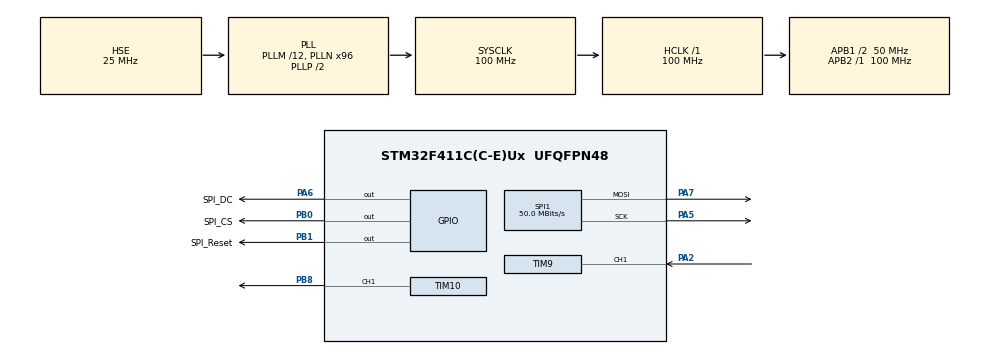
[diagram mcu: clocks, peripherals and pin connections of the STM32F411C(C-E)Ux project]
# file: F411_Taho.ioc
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Dma.Request0=SPI1_TX
Dma.SPI1_TX.0.Direction=DMA_MEMORY_TO_PERIPH
Dma.SPI1_TX.0.FIFOMode=DMA_FIFOMODE_DISABLE
Dma.SPI1_TX.0.Instance=DMA2_Stream2
Dma.SPI1_TX.0.MemDataAlignment=DMA_MDATAALIGN_BYTE
Dma.SPI1_TX.0.MemInc=DMA_MINC_ENABLE
Dma.SPI1_TX.0.Mode=DMA_NORMAL
Dma.SPI1_TX.0.PeriphDataAlignment=DMA_PDATAALIGN_BYTE
Dma.SPI1_TX.0.PeriphInc=DMA_PINC_DISABLE
Dma.SPI1_TX.0.Priority=DMA_PRIORITY_LOW
Mcu.Family=STM32F4
Mcu.Name=STM32F411C(C-E)Ux
Mcu.Package=UFQFPN48
NVIC.DMA2_Stream2_IRQn=true\:0\:0\:false\:false\:true\:false\:true
NVIC.PriorityGroup=NVIC_PRIORITYGROUP_4
NVIC.SPI1_IRQn=true\:0\:0\:false\:false\:true\:true\:true
NVIC.TIM1_BRK_TIM9_IRQn=true\:0\:0\:false\:false\:true\:true\:true
PA13.Mode=Serial_Wire
PA13.Signal=SYS_JTMS-SWDIO
PA14.Mode=Serial_Wire
PA14.Signal=SYS_JTCK-SWCLK
PA2.GPIO_PuPd=GPIO_PULLUP
PA2.GPIO_Speed=GPIO_SPEED_FREQ_VERY_HIGH
PA2.Signal=S_TIM9_CH1
PA5.Mode=TX_Only_Simplex_Unidirect_Master
PA5.Signal=SPI1_SCK
PA6.GPIO_Label=SPI_DC
PA6.Signal=GPIO_Output
PA7.Mode=TX_Only_Simplex_Unidirect_Master
PA7.Signal=SPI1_MOSI
PB0.GPIO_Label=SPI_CS
PB0.Signal=GPIO_Output
PB1.GPIO_Label=SPI_Reset
PB1.Signal=GPIO_Output
PB8.Signal=S_TIM10_CH1
PH0\ -\ OSC_IN.Mode=HSE-External-Oscillator
PH0\ -\ OSC_IN.Signal=RCC_OSC_IN
PH1\ -\ OSC_OUT.Mode=HSE-External-Oscillator
PH1\ -\ OSC_OUT.Signal=RCC_OSC_OUT
ProjectManager.HeapSize=0x200
ProjectManager.StackSize=0x400
ProjectManager.TargetToolchain=EWARM V8
RCC.48MHZClocksFreq_Value=50000000
RCC.AHBFreq_Value=100000000
RCC.APB1CLKDivider=RCC_HCLK_DIV2
RCC.APB1Freq_Value=50000000
RCC.APB1TimFreq_Value=100000000
RCC.APB2Freq_Value=100000000
RCC.APB2TimFreq_Value=100000000
RCC.CortexFreq_Value=100000000
RCC.HCLKFreq_Value=100000000
RCC.HSE_VALUE=25000000
RCC.HSI_VALUE=16000000
RCC.LSE_VALUE=32768
RCC.PLLM=12
RCC.PLLN=96
RCC.PLLSourceVirtual=RCC_PLLSOURCE_HSE
RCC.SYSCLKFreq_VALUE=100000000
RCC.SYSCLKSource=RCC_SYSCLKSOURCE_PLLCLK
RCC.VCOOutputFreq_Value=200000000
SH.S_TIM10_CH1.0=TIM10_CH1,PWM Generation1 CH1
SH.S_TIM9_CH1.0=TIM9_CH1,Input_Capture1_from_TI1
SPI1.CalculateBaudRate=50.0 MBits/s
SPI1.Direction=SPI_DIRECTION_2LINES
SPI1.Mode=SPI_MODE_MASTER
SPI1.VirtualType=VM_MASTER
TIM10.Channel=TIM_CHANNEL_1
TIM10.OCFastMode_PWM=TIM_OCFAST_ENABLE
TIM10.Period=9
TIM10.Prescaler=9
TIM9.Channel-Input_Capture1_from_TI1=TIM_CHANNEL_1
TIM9.ICPolarity_CH1=TIM_INPUTCHANNELPOLARITY_FALLING
TIM9.Period=60000
TIM9.Prescaler=99
VP_TIM10_VS_ClockSourceINT.Mode=Enable_Timer
VP_TIM9_VS_ClockSourceINT.Mode=Internal
board=custom

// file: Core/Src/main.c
/* USER CODE BEGIN Header */
/**
  ******************************************************************************
  * @file           : main.c
  * @brief          : Main program body
  ******************************************************************************
  * @attention
  *
  * <h2><center>&copy; Copyright (c) 2022 STMicroelectronics.
  * All rights reserved.</center></h2>
  *
  * This software component is licensed by ST under BSD 3-Clause license,
  * the "License"; You may not use this file except in compliance with the
  * License. You may obtain a copy of the License at:
  *                        opensource.org/licenses/BSD-3-Clause
  *
  ******************************************************************************
  */
/* USER CODE END Header */
#include "main.h"

/* USER CODE BEGIN Includes */
#include "stdio.h"
#include "ssd1306.h"
#include "fonts.h"
#include "filter_sma.h"
/* USER CODE END Includes */

/* USER CODE BEGIN PD */
#define    DWT_CYCCNT    *(volatile uint32_t*)0xE0001004
#define    DWT_CONTROL   *(volatile uint32_t*)0xE0001000
#define    SCB_DEMCR     *(volatile uint32_t*)0xE000EDFC

/* USER CODE END PD */

SPI_HandleTypeDef hspi1;
DMA_HandleTypeDef hdma_spi1_tx;

TIM_HandleTypeDef htim9;
TIM_HandleTypeDef htim10;

/* USER CODE BEGIN PV */
float rev_time = 0;
unsigned int pulseWidth = 0;
unsigned char transmit_buffer[] = {0};
unsigned int flash = 0;
unsigned int lastflash = 0;
//unsigned long last_filtered = 0;
/* USER CODE END PV */

void SystemClock_Config(void);
static void MX_GPIO_Init(void);
static void MX_DMA_Init(void);
static void MX_SPI1_Init(void);
static void MX_TIM9_Init(void);
static void MX_TIM10_Init(void);

/* USER CODE BEGIN 0 */
void DWT_Init(void)
{
    SCB_DEMCR |= CoreDebug_DEMCR_TRCENA_Msk;
    DWT_CONTROL |= DWT_CTRL_CYCCNTENA_Msk;
}
/* USER CODE END 0 */

int main(void)
{

  /* MCU Configuration--------------------------------------------------------*/

  /* Reset of all peripherals, Initializes the Flash interface and the Systick. */
  HAL_Init();

  /* Configure the system clock */
  SystemClock_Config();

  /* Initialize all configured peripherals */
  MX_GPIO_Init();
  MX_DMA_Init();
  MX_SPI1_Init();
  MX_TIM9_Init();
  MX_TIM10_Init();
  /* USER CODE BEGIN 2 */
  DWT_Init();
  SSD1306_Init();
  SSD1306_Fill(SSD1306_PX_CLR_BLACK);
  SSD1306_DrawRectangle(20, 5, 40, 25, SSD1306_PX_CLR_WHITE);
  SSD1306_GotoXY(21, 12);
  SSD1306_Puts("Msg", &Font_11x18, SSD1306_PX_CLR_WHITE);
  SSD1306_UpdateScreen();
  HAL_Delay(1000);
  SSD1306_Clear();
  SSD1306_Clear();
  HAL_TIM_PWM_Start_IT(&htim10, TIM_CHANNEL_1);
  HAL_TIM_IC_Start_IT(&htim9, TIM_CHANNEL_1);
  HAL_TIM_IC_Start_IT(&htim9, TIM_CHANNEL_2);
  /* USER CODE END 2 */

  /* Infinite loop */
  /* USER CODE BEGIN WHILE */
  while (1)
  {
    //if ((Filter_SMA(pulseWidth) - last_filtered) > 1000);
    //last_filtered = Filter_SMA(pulseWidth);
    SSD1306_Clear();
    sprintf((char*)transmit_buffer, "%d", MedianFilter(Filter_SMA(pulseWidth)));
    SSD1306_GotoXY(0,5);
    SSD1306_Puts((char*)transmit_buffer, &Font_16x26, SSD1306_PX_CLR_WHITE);
    SSD1306_UpdateScreen();
    HAL_Delay(100);
    /* USER CODE END WHILE */

  }
}

void SystemClock_Config(void)
{
  RCC_OscInitTypeDef RCC_OscInitStruct = {0};
  RCC_ClkInitTypeDef RCC_ClkInitStruct = {0};

  /** Configure the main internal regulator output voltage
  */
  __HAL_RCC_PWR_CLK_ENABLE();
  __HAL_PWR_VOLTAGESCALING_CONFIG(PWR_REGULATOR_VOLTAGE_SCALE1);
  /** Initializes the RCC Oscillators according to the specified parameters
  * in the RCC_OscInitTypeDef structure.
  */
  RCC_OscInitStruct.OscillatorType = RCC_OSCILLATORTYPE_HSE;
  RCC_OscInitStruct.HSEState = RCC_HSE_ON;
  RCC_OscInitStruct.PLL.PLLState = RCC_PLL_ON;
  RCC_OscInitStruct.PLL.PLLSource = RCC_PLLSOURCE_HSE;
  RCC_OscInitStruct.PLL.PLLM = 12;
  RCC_OscInitStruct.PLL.PLLN = 96;
  RCC_OscInitStruct.PLL.PLLP = RCC_PLLP_DIV2;
  RCC_OscInitStruct.PLL.PLLQ = 4;
  if (HAL_RCC_OscConfig(&RCC_OscInitStruct) != HAL_OK)
  {
    Error_Handler();
  }
  /** Initializes the CPU, AHB and APB buses clocks
  */
  RCC_ClkInitStruct.ClockType = RCC_CLOCKTYPE_HCLK|RCC_CLOCKTYPE_SYSCLK
                              |RCC_CLOCKTYPE_PCLK1|RCC_CLOCKTYPE_PCLK2;
  RCC_ClkInitStruct.SYSCLKSource = RCC_SYSCLKSOURCE_PLLCLK;
  RCC_ClkInitStruct.AHBCLKDivider = RCC_SYSCLK_DIV1;
  RCC_ClkInitStruct.APB1CLKDivider = RCC_HCLK_DIV2;
  RCC_ClkInitStruct.APB2CLKDivider = RCC_HCLK_DIV1;

  if (HAL_RCC_ClockConfig(&RCC_ClkInitStruct, FLASH_LATENCY_3) != HAL_OK)
  {
    Error_Handler();
  }
}

static void MX_SPI1_Init(void)
{

  /* SPI1 parameter configuration*/
  hspi1.Instance = SPI1;
  hspi1.Init.Mode = SPI_MODE_MASTER;
  hspi1.Init.Direction = SPI_DIRECTION_2LINES;
  hspi1.Init.DataSize = SPI_DATASIZE_8BIT;
  hspi1.Init.CLKPolarity = SPI_POLARITY_LOW;
  hspi1.Init.CLKPhase = SPI_PHASE_1EDGE;
  hspi1.Init.NSS = SPI_NSS_SOFT;
  hspi1.Init.BaudRatePrescaler = SPI_BAUDRATEPRESCALER_2;
  hspi1.Init.FirstBit = SPI_FIRSTBIT_MSB;
  hspi1.Init.TIMode = SPI_TIMODE_DISABLE;
  hspi1.Init.CRCCalculation = SPI_CRCCALCULATION_DISABLE;
  hspi1.Init.CRCPolynomial = 10;
  if (HAL_SPI_Init(&hspi1) != HAL_OK)
  {
    Error_Handler();
  }

}

static void MX_TIM9_Init(void)
{

  TIM_ClockConfigTypeDef sClockSourceConfig = {0};
  TIM_IC_InitTypeDef sConfigIC = {0};

  htim9.Instance = TIM9;
  htim9.Init.Prescaler = 99;
  htim9.Init.CounterMode = TIM_COUNTERMODE_UP;
  htim9.Init.Period = 60000;
  htim9.Init.ClockDivision = TIM_CLOCKDIVISION_DIV1;
  htim9.Init.AutoReloadPreload = TIM_AUTORELOAD_PRELOAD_DISABLE;
  if (HAL_TIM_Base_Init(&htim9) != HAL_OK)
  {
    Error_Handler();
  }
  sClockSourceConfig.ClockSource = TIM_CLOCKSOURCE_INTERNAL;
  if (HAL_TIM_ConfigClockSource(&htim9, &sClockSourceConfig) != HAL_OK)
  {
    Error_Handler();
  }
  if (HAL_TIM_IC_Init(&htim9) != HAL_OK)
  {
    Error_Handler();
  }
  sConfigIC.ICPolarity = TIM_INPUTCHANNELPOLARITY_FALLING;
  sConfigIC.ICSelection = TIM_ICSELECTION_DIRECTTI;
  sConfigIC.ICPrescaler = TIM_ICPSC_DIV1;
  sConfigIC.ICFilter = 0;
  if (HAL_TIM_IC_ConfigChannel(&htim9, &sConfigIC, TIM_CHANNEL_1) != HAL_OK)
  {
    Error_Handler();
  }

}

static void MX_TIM10_Init(void)
{

  TIM_OC_InitTypeDef sConfigOC = {0};

  htim10.Instance = TIM10;
  htim10.Init.Prescaler = 9;
  htim10.Init.CounterMode = TIM_COUNTERMODE_UP;
  htim10.Init.Period = 9;
  htim10.Init.ClockDivision = TIM_CLOCKDIVISION_DIV1;
  htim10.Init.AutoReloadPreload = TIM_AUTORELOAD_PRELOAD_DISABLE;
  if (HAL_TIM_Base_Init(&htim10) != HAL_OK)
  {
    Error_Handler();
  }
  if (HAL_TIM_PWM_Init(&htim10) != HAL_OK)
  {
    Error_Handler();
  }
  sConfigOC.OCMode = TIM_OCMODE_PWM1;
  sConfigOC.Pulse = 0;
  sConfigOC.OCPolarity = TIM_OCPOLARITY_HIGH;
  sConfigOC.OCFastMode = TIM_OCFAST_ENABLE;
  if (HAL_TIM_PWM_ConfigChannel(&htim10, &sConfigOC, TIM_CHANNEL_1) != HAL_OK)
  {
    Error_Handler();
  }
  HAL_TIM_MspPostInit(&htim10);

}

static void MX_DMA_Init(void)
{

  /* DMA controller clock enable */
  __HAL_RCC_DMA2_CLK_ENABLE();

  /* DMA interrupt init */
  /* DMA2_Stream2_IRQn interrupt configuration */
  HAL_NVIC_SetPriority(DMA2_Stream2_IRQn, 0, 0);
  HAL_NVIC_EnableIRQ(DMA2_Stream2_IRQn);

}

static void MX_GPIO_Init(void)
{
  GPIO_InitTypeDef GPIO_InitStruct = {0};

  /* GPIO Ports Clock Enable */
  __HAL_RCC_GPIOH_CLK_ENABLE();
  __HAL_RCC_GPIOA_CLK_ENABLE();
  __HAL_RCC_GPIOB_CLK_ENABLE();

  /*Configure GPIO pin Output Level */
  HAL_GPIO_WritePin(SPI_DC_GPIO_Port, SPI_DC_Pin, GPIO_PIN_RESET);

  /*Configure GPIO pin Output Level */
  HAL_GPIO_WritePin(GPIOB, SPI_CS_Pin|SPI_Reset_Pin, GPIO_PIN_RESET);

  /*Configure GPIO pin : SPI_DC_Pin */
  GPIO_InitStruct.Pin = SPI_DC_Pin;
  GPIO_InitStruct.Mode = GPIO_MODE_OUTPUT_PP;
  GPIO_InitStruct.Pull = GPIO_NOPULL;
  GPIO_InitStruct.Speed = GPIO_SPEED_FREQ_LOW;
  HAL_GPIO_Init(SPI_DC_GPIO_Port, &GPIO_InitStruct);

  /*Configure GPIO pins : SPI_CS_Pin SPI_Reset_Pin */
  GPIO_InitStruct.Pin = SPI_CS_Pin|SPI_Reset_Pin;
  GPIO_InitStruct.Mode = GPIO_MODE_OUTPUT_PP;
  GPIO_InitStruct.Pull = GPIO_NOPULL;
  GPIO_InitStruct.Speed = GPIO_SPEED_FREQ_LOW;
  HAL_GPIO_Init(GPIOB, &GPIO_InitStruct);

}

/* USER CODE BEGIN 4 */
void HAL_TIM_IC_CaptureCallback(TIM_HandleTypeDef *htim)
{
    if (htim->Instance == TIM9)
    {
        if(htim->Channel == HAL_TIM_ACTIVE_CHANNEL_1)
        {
          flash = (DWT_CYCCNT/100) - lastflash;
          lastflash = DWT_CYCCNT/100;
          rev_time = (float) flash / 1000000; //revolution time
          pulseWidth = (float) 60 / rev_time; //RPM
        }
    }
}
/* USER CODE END 4 */

void Error_Handler(void)
{
  __disable_irq();
  while (1)
  {
  }
}

/************************ (C) COPYRIGHT STMicroelectronics *****END OF FILE****/
